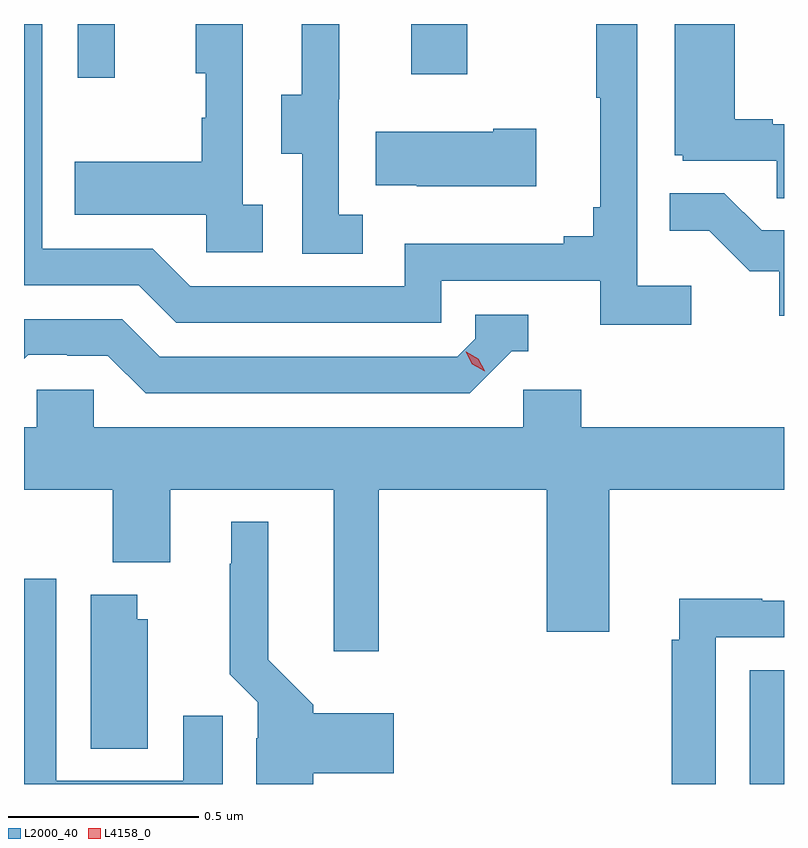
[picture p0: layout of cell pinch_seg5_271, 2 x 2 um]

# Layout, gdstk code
import gdstk
lib = gdstk.Library(unit=1e-6, precision=1e-09)
def R(c, l, rs):  # rectangles x0, y0, x1, y1
    for r in rs: c.add(gdstk.rectangle(r[:2], r[2:], *l))
def P(c, l, *ps):  # polygons
    for p in ps: c.add(gdstk.Polygon(p, *l))
L2000_40 = (2000, 40)
L4158_0 = (4158, 0)

pinch_seg5_271 = lib.new_cell('pinch_seg5_271')
R(pinch_seg5_271, L2000_40, [(896.81,902.605,896.9,902.905), (895.041,904.464,895.139,904.605), (895.919,904.473,896.067,904.605)])
P(pinch_seg5_271, L2000_40, [(895.528,904.13),(895.476,904.13),(895.476,904.605),(895.352,904.605),(895.352,904.476),(895.378,904.476),(895.378,904.358),(895.368,904.358),(895.368,904.243),(895.033,904.243),(895.033,904.103),(895.38,904.103),(895.38,904.005),(895.528,904.005)],
  [(896.656,903.916),(896.514,903.916),(896.514,904.605),(896.406,904.605),(896.406,904.411),(896.417,904.411),(896.417,904.123),(896.398,904.123),(896.398,904.046),(896.321,904.046),(896.321,904.027),(895.902,904.027),(895.902,903.915),(895.338,903.915),(895.239,904.014),(894.948,904.014),(894.948,904.605),(894.9,904.605),(894.9,903.918),(895.202,903.918),(895.301,903.819),(895.998,903.819),(895.998,903.93),(896.417,903.93),(896.417,903.814),(896.656,903.814)],
  [(895.792,904.103),(895.728,904.103),(895.728,904.407),(895.73,904.407),(895.73,904.605),(895.631,904.605),(895.631,904.419),(895.577,904.419),(895.577,904.264),(895.632,904.264),(895.632,904),(895.792,904)],
  [(896.9,904.341),(896.87,904.341),(896.87,904.354),(896.77,904.354),(896.77,904.605),(896.612,904.605),(896.612,904.26),(896.634,904.26),(896.634,904.245),(896.881,904.245),(896.881,904.147),(896.9,904.147)],
  [(896.248,904.329),(896.135,904.329),(896.135,904.321),(895.825,904.321),(895.825,904.181),(895.933,904.181),(895.933,904.178),(896.248,904.178)],
  [(896.9,904.062),(896.841,904.062),(896.743,904.16),(896.599,904.16),(896.599,904.061),(896.703,904.061),(896.81,903.954),(896.887,903.954),(896.887,903.837),(896.9,903.837)],
  [(896.184,903.744),(896.227,903.744),(896.227,903.84),(896.088,903.84),(896.088,903.777),(896.04,903.729),(895.257,903.729),(895.158,903.828),(894.9,903.828),(894.9,903.724),(894.911,903.735),(895.014,903.735),(895.014,903.732),(895.121,903.732),(895.22,903.633),(896.073,903.633)],
  [(895.833,903.38),(896.276,903.38),(896.276,903.006),(896.44,903.006),(896.44,903.38),(896.9,903.38),(896.9,903.544),(896.366,903.544),(896.366,903.642),(896.214,903.642),(896.214,903.544),(895.083,903.544),(895.083,903.642),(894.933,903.642),(894.933,903.544),(894.9,903.544),(894.9,903.38),(895.133,903.38),(895.133,903.188),(895.285,903.188),(895.285,903.38),(895.715,903.38),(895.715,902.955),(895.833,902.955)],
  [(895.661,902.633),(895.873,902.633),(895.873,902.791),(895.661,902.791),(895.661,902.814),(895.543,902.932),(895.543,903.295),(895.445,903.295),(895.445,903.185),(895.441,903.185),(895.441,902.894),(895.515,902.82),(895.515,902.726),(895.511,902.726),(895.511,902.605),(895.661,902.605)],
  [(895.423,902.785),(895.319,902.785),(895.319,902.613),(894.985,902.613),(894.985,903.145),(894.9,903.145),(894.9,902.605),(895.423,902.605)],
  [(895.225,903.039),(895.198,903.039),(895.198,903.103),(895.076,903.103),(895.076,902.698),(895.225,902.698)],
  [(896.721,902.991),(896.9,902.991),(896.9,903.087),(896.843,903.087),(896.843,903.092),(896.624,903.092),(896.624,902.984),(896.605,902.984),(896.605,902.605),(896.721,902.605)])
P(pinch_seg5_271, L4158_0, [(896.112,903.691),(896.08,903.71),(896.063,903.742),(896.063,903.743),(896.064,903.743),(896.095,903.724),(896.112,903.692),(896.112,903.691)])

lib.write_gds('pinch_seg5_271.gds')
